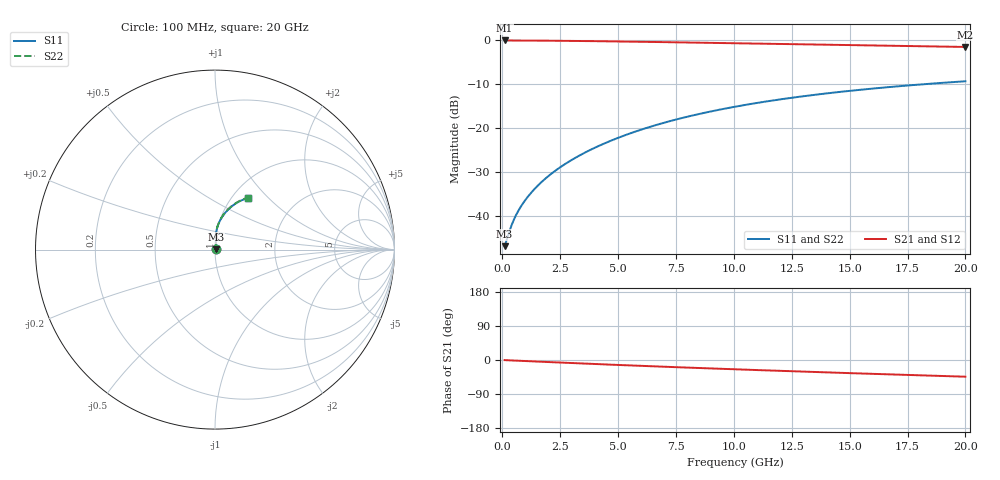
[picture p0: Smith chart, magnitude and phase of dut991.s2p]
! Touchstone file exported from HFSS 2024.1.0
!  File:  C:/UserFiles/LocalFiles/RDL_TSV_Batchsim/temp_RDL_bottom_991_1779943914.aedt
!  Generated:  12:54:25 PM May 28, 2026
!  Design:  RDL_bottom
!  Project:  temp_RDL_bottom_991_1779943914
!  Setup:  Setup1
!  Solution:  Sweep
! Variables:
!  dtsv = 10.80580581um
!  hbump = 3um
!  htsv = 86.44um
!  ldown = 631.91um
!  lrdl = 100um
!  p = 40
!  p1 = 53.47um
!  rhole = 1um
!  t = 450um
!  tdown = 2.01um
!  trdl = 3.915915916um
!  wdown = 29.1um
!  wrdl = 20um
# GHz S MA R 50.000000
! Terminal data exported
! Port[1] = RDL1_T1
! Port[2] = RDL1_T2
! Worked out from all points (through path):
!   200 points, 100 MHz to 20 GHz, reference 50 ohm
!   highest |S21| = -0.04 dB at 100 MHz (marker M1); lowest = -1.5 dB at 20 GHz (marker M2)
!   group delay of S21, straight-line fit = 6.05 ps
!   lowest |S11| = -46.8 dB at 100 MHz (marker M3), VSWR 1.01, Z = 50.4 + j0.168 ohm
!   |S11| at or under -10 dB: start of sweep to 18.17 GHz
!   |S22| runs from -46.8 to -9.3 dB; largest |S21 - S12| = 5.3e-15
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0.1  0.004558 21.4  0.9957 -0.3  0.9957 -0.3  0.004558 21.4
! Gamma 0 0 0 0
! Port Impedance 50 0 50 0
0.3  0.006637 46.6  0.9953 -0.9  0.9953 -0.9  0.006636 46.6
0.4  0.007874 52.9  0.995 -1.1  0.995 -1.1  0.007874 52.9
0.6  0.01036 60.8  0.9944 -1.7  0.9944 -1.7  0.01036 60.9
0.7  0.0116 63.7  0.9941 -2.0  0.9941 -2.0  0.01159 63.7
0.9  0.01407 68.1  0.9935 -2.5  0.9935 -2.5  0.01407 68.1
1.2  0.01788 73.0  0.9926 -3.3  0.9926 -3.3  0.01787 73.0
1.4  0.02048 75.4  0.9919 -3.8  0.9919 -3.8  0.02048 75.5
1.7  0.02452 78.3  0.9908 -4.6  0.9908 -4.6  0.02452 78.4
2.2  0.03156 81.7  0.9886 -6.0  0.9886 -6.0  0.03156 81.8
2.8  0.04052 84.3  0.9854 -7.5  0.9854 -7.5  0.04054 84.4
3.5  0.05166 86.0  0.981 -9.3  0.981 -9.3  0.05171 86.2
4.2  0.06349 86.8  0.9761 -11.1  0.9761 -11.1  0.06357 87.0
5  0.07775 86.9  0.9699 -13.1  0.9699 -13.1  0.07786 87.1
5.9  0.09452 86.3  0.9625 -15.2  0.9625 -15.2  0.09469 86.5
6.8  0.1118 85.2  0.9548 -17.3  0.9548 -17.3  0.1121 85.4
8.4  0.1433 82.4  0.9407 -21.0  0.9407 -21.0  0.1436 82.6
10.1  0.1766 78.8  0.9255 -24.6  0.9255 -24.6  0.1771 79.0
11.7  0.2072 75.2  0.9113 -28.0  0.9113 -28.0  0.2078 75.4
13.4  0.2383 71.4  0.8963 -31.5  0.8963 -31.5  0.239 71.6
16.7  0.2937 64.1  0.8677 -37.9  0.8677 -37.9  0.2947 64.4
20  0.3421 57.4  0.8399 -44.1  0.8399 -44.1  0.3433 57.6
